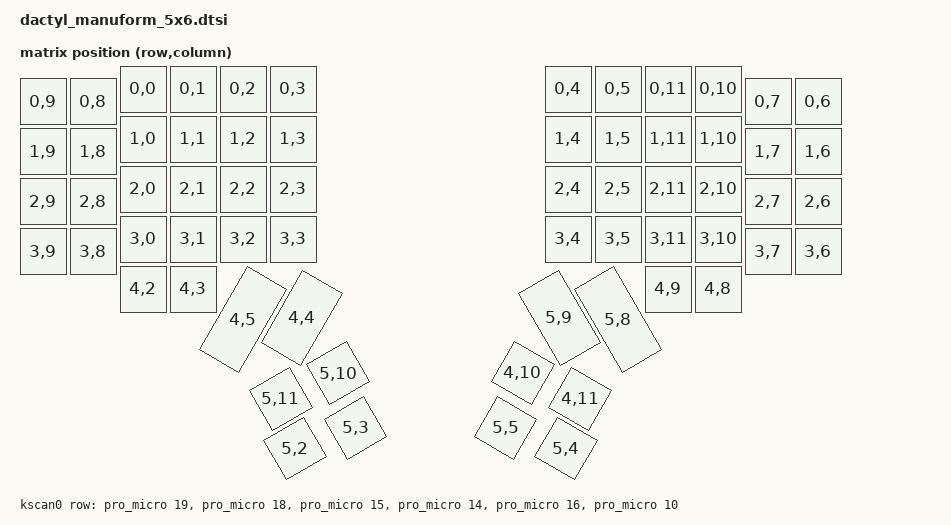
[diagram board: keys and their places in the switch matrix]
#include <physical_layouts.dtsi>
#include <dt-bindings/zmk/matrix_transform.h>
#include <dt-bindings/led/led.h>
/ {
    chosen {
        zmk,kscan = &kscan0;
        zmk,physical-layout = &physical_layout0;
        zmk,underglow = &led_strip;
    };

    default_transform: keymap_transform_0 {
        compatible = "zmk,matrix-transform";
        columns = <12>;
        rows = <6>;
// | MX1  | MX2  | MX3  | MX4  | MX5  | MX6  |                 | MX7  | MX8  | MX9  | MX10 | MX11 | MX12 |
// | MX13 | MX14 | MX15 | MX16 | MX17 | MX18 |                 | MX19 | MX20 | MX21 | MX22 | MX23 | MX24 |
// | MX25 | MX26 | MX27 | MX28 | MX29 | MX30 |                 | MX31 | MX32 | MX33 | MX34 | MX35 | MX36 |
// | MX37 | MX38 | MX39 | MX40 | MX41 | MX42 |                 | MX43 | MX44 | MX45 | MX46 | MX47 | MX48 |
//               | MX49 | MX50 |                                             | MX51 | MX52 |
//                             | MX53 | MX54 |                 | MX55 | MX56 |
//                                    | MX57 | MX58 |   | MX59 | MX60 |
//                                    | MX61 | MX62 |   | MX63 | MX64 |
        map = <
RC(0,0) RC(0,1) RC(0,2) RC(0,3) RC(0,4) RC(0,5)                   RC(0,11) RC(0,10) RC(0,9) RC(0,8) RC(0,7) RC(0,6)
RC(1,0) RC(1,1) RC(1,2) RC(1,3) RC(1,4) RC(1,5)                   RC(1,11) RC(1,10) RC(1,9) RC(1,8) RC(1,7) RC(1,6)
RC(2,0) RC(2,1) RC(2,2) RC(2,3) RC(2,4) RC(2,5)                   RC(2,11) RC(2,10) RC(2,9) RC(2,8) RC(2,7) RC(2,6)
RC(3,0) RC(3,1) RC(3,2) RC(3,3) RC(3,4) RC(3,5)                   RC(3,11) RC(3,10) RC(3,9) RC(3,8) RC(3,7) RC(3,6)
                RC(4,2) RC(4,3)                                                     RC(4,9) RC(4,8)
                                RC(4,4) RC(4,5)                   RC(4,11) RC(4,10)
                                        RC(5,4) RC(5,5)  RC(5,11) RC(5,10)
                                        RC(5,2) RC(5,3)  RC(5,9)  RC(5,8)
        >;
    };

    kscan0: kscan {
        compatible = "zmk,kscan-gpio-matrix";
        label = "KSCAN";
        diode-direction = "col2row";
        wakeup-source;
        row-gpios
            = <&pro_micro 19 (GPIO_ACTIVE_HIGH | GPIO_PULL_DOWN)>
            , <&pro_micro 18 (GPIO_ACTIVE_HIGH | GPIO_PULL_DOWN)>
            , <&pro_micro 15 (GPIO_ACTIVE_HIGH | GPIO_PULL_DOWN)>
            , <&pro_micro 14 (GPIO_ACTIVE_HIGH | GPIO_PULL_DOWN)>
            , <&pro_micro 16 (GPIO_ACTIVE_HIGH | GPIO_PULL_DOWN)>
            , <&pro_micro 10 (GPIO_ACTIVE_HIGH | GPIO_PULL_DOWN)>
            ;

    };
};


&pinctrl {
    spi3_default: spi3_default {
        group1 {
            psels = <NRF_PSEL(SPIM_MOSI, 0, 6)>;
        };
    };

    spi3_sleep: spi3_sleep {
        group1 {
            psels = <NRF_PSEL(SPIM_MOSI, 0, 6)>;
            low-power-enable;
        };
    };
};

&spi3 {
    compatible = "nordic,nrf-spim";
    status = "okay";

    pinctrl-0 = <&spi3_default>;
    pinctrl-1 = <&spi3_sleep>;
    pinctrl-names = "default", "sleep";

    led_strip: ws2812@0 {
        compatible = "worldsemi,ws2812-spi";
        label = "WS2812";

        /* SPI */
        reg = <0>; /* ignored, but necessary for SPI bindings */
        spi-max-frequency = <4000000>;

        /* WS2812 */
        chain-length = <41>; /* number of LEDs */
        spi-one-frame = <0x70>;
        spi-zero-frame = <0x40>;
        color-mapping = <LED_COLOR_ID_GREEN LED_COLOR_ID_RED LED_COLOR_ID_BLUE>;
    };
};

/ {
    physical_layout0: physical_layout_0 {
        compatible = "zmk,physical-layout";
        display-name = "LAYOUT";

        kscan = <&kscan0>;
        transform = <&default_transform>;

        keys  //                     w   h    x    y     rot    rx    ry
            = <&key_physical_attrs 100 100  350    0       0     0     0>
            , <&key_physical_attrs 100 100  450    0       0     0     0>
            , <&key_physical_attrs 100 100  550    0       0     0     0>
            , <&key_physical_attrs 100 100  650    0       0     0     0>
            , <&key_physical_attrs 100 100 1200    0       0     0     0>
            , <&key_physical_attrs 100 100 1300    0       0     0     0>
            , <&key_physical_attrs 100 100 1400    0       0     0     0>
            , <&key_physical_attrs 100 100 1500    0       0     0     0>
            , <&key_physical_attrs 100 100  150   25       0     0     0>
            , <&key_physical_attrs 100 100  250   25       0     0     0>
            , <&key_physical_attrs 100 100 1600   25       0     0     0>
            , <&key_physical_attrs 100 100 1700   25       0     0     0>
            , <&key_physical_attrs 100 100  350  100       0     0     0>
            , <&key_physical_attrs 100 100  450  100       0     0     0>
            , <&key_physical_attrs 100 100  550  100       0     0     0>
            , <&key_physical_attrs 100 100  650  100       0     0     0>
            , <&key_physical_attrs 100 100 1200  100       0     0     0>
            , <&key_physical_attrs 100 100 1300  100       0     0     0>
            , <&key_physical_attrs 100 100 1400  100       0     0     0>
            , <&key_physical_attrs 100 100 1500  100       0     0     0>
            , <&key_physical_attrs 100 100  150  125       0     0     0>
            , <&key_physical_attrs 100 100  250  125       0     0     0>
            , <&key_physical_attrs 100 100 1600  125       0     0     0>
            , <&key_physical_attrs 100 100 1700  125       0     0     0>
            , <&key_physical_attrs 100 100  350  200       0     0     0>
            , <&key_physical_attrs 100 100  450  200       0     0     0>
            , <&key_physical_attrs 100 100  550  200       0     0     0>
            , <&key_physical_attrs 100 100  650  200       0     0     0>
            , <&key_physical_attrs 100 100 1200  200       0     0     0>
            , <&key_physical_attrs 100 100 1300  200       0     0     0>
            , <&key_physical_attrs 100 100 1400  200       0     0     0>
            , <&key_physical_attrs 100 100 1500  200       0     0     0>
            , <&key_physical_attrs 100 100  150  225       0     0     0>
            , <&key_physical_attrs 100 100  250  225       0     0     0>
            , <&key_physical_attrs 100 100 1600  225       0     0     0>
            , <&key_physical_attrs 100 100 1700  225       0     0     0>
            , <&key_physical_attrs 100 100  350  300       0     0     0>
            , <&key_physical_attrs 100 100  450  300       0     0     0>
            , <&key_physical_attrs 100 100  550  300       0     0     0>
            , <&key_physical_attrs 100 100  650  300       0     0     0>
            , <&key_physical_attrs 100 100 1200  300       0     0     0>
            , <&key_physical_attrs 100 100 1300  300       0     0     0>
            , <&key_physical_attrs 100 100 1400  300       0     0     0>
            , <&key_physical_attrs 100 100 1500  300       0     0     0>
            , <&key_physical_attrs 100 100  150  325       0     0     0>
            , <&key_physical_attrs 100 100  250  325       0     0     0>
            , <&key_physical_attrs 100 100 1600  325       0     0     0>
            , <&key_physical_attrs 100 100 1700  325       0     0     0>
            , <&key_physical_attrs 100 100  350  400       0     0     0>
            , <&key_physical_attrs 100 100  450  400       0     0     0>
            , <&key_physical_attrs 100 100 1400  400       0     0     0>
            , <&key_physical_attrs 100 100 1500  400       0     0     0>
            , <&key_physical_attrs 100 175  700  375    3000   650   425>
            , <&key_physical_attrs 100 200  600  425    3000   650   425>
            , <&key_physical_attrs 100 100 1350  600    3000  1300   425>
            , <&key_physical_attrs 100 100 1225  612    3000  1300   425>
            , <&key_physical_attrs 100 100 1375  700    3000  1300   425>
            , <&key_physical_attrs 100 100 1250  725    3000  1300   425>
            , <&key_physical_attrs 100 100  500  600 (-3000)   650   425>
            , <&key_physical_attrs 100 100  625  613 (-3000)   650   425>
            , <&key_physical_attrs 100 100  475  700 (-3000)   650   425>
            , <&key_physical_attrs 100 100  600  725 (-3000)   650   425>
            , <&key_physical_attrs 100 176 1150  375 (-3000)  1300   425>
            , <&key_physical_attrs 100 200 1250  425 (-3000)  1300   425>
            ;
    };
};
